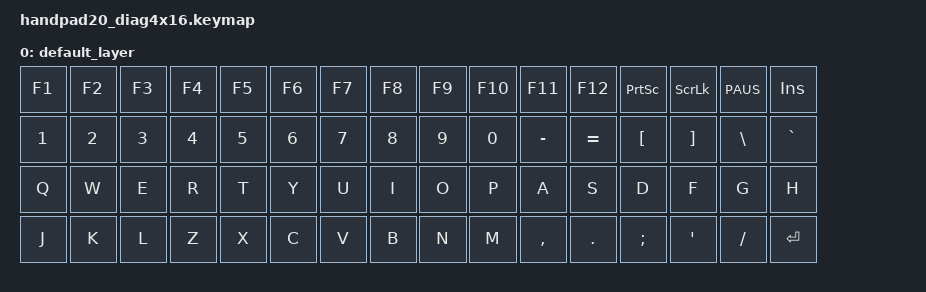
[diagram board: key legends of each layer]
#include <behaviors.dtsi>
#include <dt-bindings/zmk/keys.h>

/ {
    keymap {
        compatible = "zmk,keymap";

        default_layer {
            bindings = <
                &kp F1  &kp F2  &kp F3  &kp F4  &kp F5  &kp F6  &kp F7  &kp F8  &kp F9  &kp F10 &kp F11 &kp F12 &kp PSCRN &kp SLCK &kp PAUS  &kp INS
                &kp N1  &kp N2  &kp N3  &kp N4  &kp N5  &kp N6  &kp N7  &kp N8  &kp N9  &kp N0  &kp MINUS &kp EQUAL &kp LBKT &kp RBKT &kp BSLH  &kp GRAVE
                &kp Q   &kp W   &kp E   &kp R   &kp T   &kp Y   &kp U   &kp I   &kp O   &kp P   &kp A     &kp S     &kp D    &kp F    &kp G     &kp H
                &kp J   &kp K   &kp L   &kp Z   &kp X   &kp C   &kp V   &kp B   &kp N   &kp M   &kp COMMA &kp DOT   &kp SEMI &kp SQT  &kp SLASH &kp ENTER
            >;
        };
    };
};
